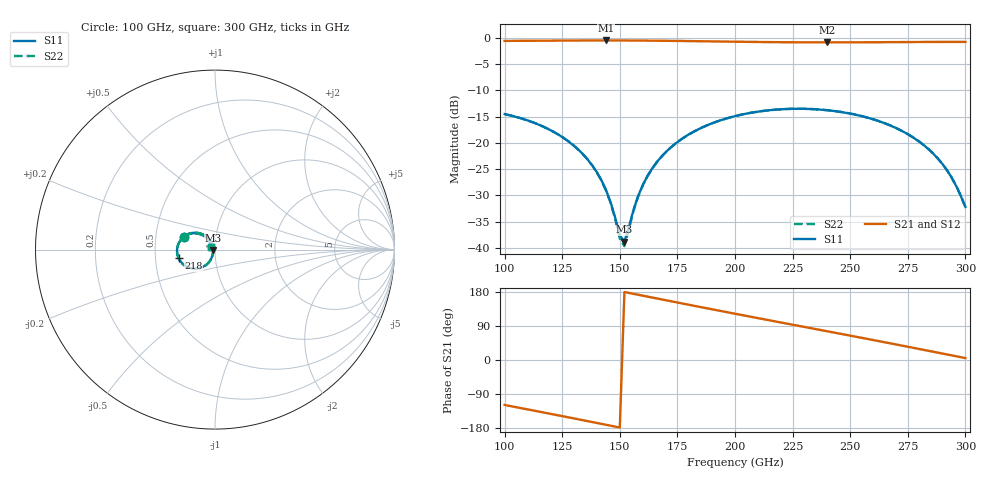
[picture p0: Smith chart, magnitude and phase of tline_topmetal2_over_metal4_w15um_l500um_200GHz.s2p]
#  GHZ S DB R 50
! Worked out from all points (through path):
!   101 points, 100 GHz to 300 GHz, reference 50 ohm
!   highest |S21| = -0.46 dB at 144 GHz (marker M1); lowest = -0.8 dB at 240 GHz (marker M2)
!   group delay of S21, straight-line fit = 3.28 ps
!   lowest |S11| = -38.8 dB at 152 GHz (marker M3), VSWR 1.02, Z = 48.9 - j0.27 ohm
!   |S11| at or under -10 dB: start of sweep to end of sweep
!   |S22| runs from -39.7 to -13.5 dB; largest |S21 - S12| = 1.6e-13
!   S11 on the Smith chart (normalised r, x): 100 GHz: 0.70, +0.10; 218 GHz: 0.66, -0.07; 300 GHz: 0.96, +0.03
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100  -14.50 157.5  -0.54 -118.7  -0.54 -118.7  -14.50 157.4
120  -17.58 135.5  -0.50 -142.2  -0.50 -142.2  -17.58 135.3
134  -22.15 122.3  -0.47 -158.9  -0.47 -158.9  -22.15 121.7
140  -25.56 119.1  -0.46 -166.1  -0.46 -166.1  -25.59 118.2
144  -28.97 120.4  -0.46 -170.9  -0.46 -170.9  -29.04 118.9
146  -31.29 124.0  -0.46 -173.3  -0.46 -173.3  -31.42 122.0
150  -37.64 153.8  -0.47 -178.2  -0.47 -178.2  -38.26 151.1
152  -38.80 -166.1  -0.47 179.4  -0.47 179.4  -39.68 -164.9
158  -30.06 -115.7  -0.48 172.2  -0.48 172.2  -30.18 -113.6
162  -26.31 -113.0  -0.49 167.3  -0.49 167.3  -26.36 -111.4
168  -22.65 -115.4  -0.52 160.1  -0.52 160.1  -22.67 -114.3
182  -17.87 -128.1  -0.59 143.3  -0.59 143.3  -17.88 -127.3
200  -14.89 -147.1  -0.70 122.1  -0.70 122.1  -14.89 -146.5
218  -13.64 -166.5  -0.79 101.2  -0.79 101.2  -13.64 -165.9
234  -13.56 176.3  -0.82 82.8  -0.82 82.8  -13.55 176.8
240  -13.76 169.9  -0.83 75.9  -0.83 75.9  -13.75 170.4
254  -14.78 155.1  -0.81 59.6  -0.81 59.6  -14.77 155.6
268  -16.79 140.8  -0.78 43.2  -0.78 43.2  -16.78 141.3
280  -19.77 130.0  -0.76 29.0  -0.76 29.0  -19.75 130.5
288  -22.95 125.3  -0.74 19.4  -0.74 19.4  -22.93 125.7
294  -26.59 126.1  -0.74 12.2  -0.74 12.2  -26.57 126.5
300  -32.22 143.0  -0.74 5.0  -0.74 5.0  -32.19 143.2
